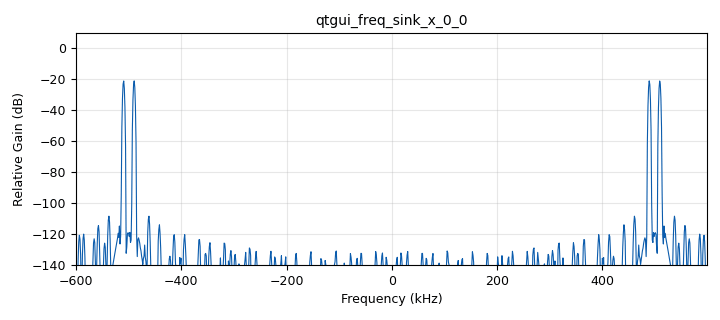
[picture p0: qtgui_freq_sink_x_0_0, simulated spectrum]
options:
  parameters:
    author: pranav
    generate_options: qt_gui
    id: p2
    output_language: python
    title: DSB-SC
  states: {}

blocks:
- name: quadrature_rate
  id: variable
  parameters:
    value: 1200e3
  states: {}
- name: samp_rate
  id: variable
  parameters:
    value: '48000'
  states: {}
- name: blocks_multiply_xx_0
  id: blocks_multiply_xx
  parameters:
    type: float
  states: {}
- name: blocks_multiply_xx_1
  id: blocks_multiply_xx
  parameters:
    type: float
  states: {state: disabled}
- name: low_pass_filter_0
  id: low_pass_filter
  parameters:
    cutoff_freq: 15e3
    decim: '1'
    gain: '1'
    samp_rate: samp_rate
    type: fir_filter_fff
    width: '10'
    win: firdes.WIN_HAMMING
  states: {state: disabled}
- name: message
  id: analog_sig_source_x
  parameters:
    amp: '1'
    freq: '10000'
    offset: '0'
    phase: '0'
    samp_rate: samp_rate
    type: float
    waveform: analog.GR_COS_WAVE
  states: {}
- name: message_0
  id: analog_sig_source_x
  parameters:
    amp: '1'
    freq: 500e3
    offset: '0'
    phase: '0'
    samp_rate: quadrature_rate
    type: float
    waveform: analog.GR_COS_WAVE
  states: {}
- name: qtgui_freq_sink_x_0
  id: qtgui_freq_sink_x
  parameters:
    bw: quadrature_rate
    fc: '0'
    fftsize: '1024'
    type: float
    wintype: firdes.WIN_BLACKMAN_hARRIS
  states: {state: disabled}
- name: qtgui_freq_sink_x_0_0
  id: qtgui_freq_sink_x
  parameters:
    bw: quadrature_rate
    fc: '0'
    fftsize: '1024'
    type: float
    wintype: firdes.WIN_BLACKMAN_hARRIS
  states: {}
- name: rational_resampler_xxx_0
  id: rational_resampler_xxx
  parameters:
    decim: '48'
    fbw: '0.4'
    interp: '1200'
    taps: ''
    type: fff
  states: {}
- name: rational_resampler_xxx_0_0
  id: rational_resampler_xxx
  parameters:
    decim: '1200'
    fbw: '0.4'
    interp: '48'
    taps: ''
    type: fff
  states: {state: disabled}

connections:
- [blocks_multiply_xx_0, '0', blocks_multiply_xx_1, '1']
- [blocks_multiply_xx_0, '0', qtgui_freq_sink_x_0, '0']
- [blocks_multiply_xx_0, '0', qtgui_freq_sink_x_0_0, '0']
- [blocks_multiply_xx_1, '0', rational_resampler_xxx_0_0, '0']
- [low_pass_filter_0, '0', qtgui_freq_sink_x_0_0, '0']
- [message, '0', rational_resampler_xxx_0, '0']
- [message_0, '0', blocks_multiply_xx_0, '1']
- [message_0, '0', blocks_multiply_xx_1, '0']
- [rational_resampler_xxx_0, '0', blocks_multiply_xx_0, '0']
- [rational_resampler_xxx_0_0, '0', low_pass_filter_0, '0']

metadata:
  file_format: 1
